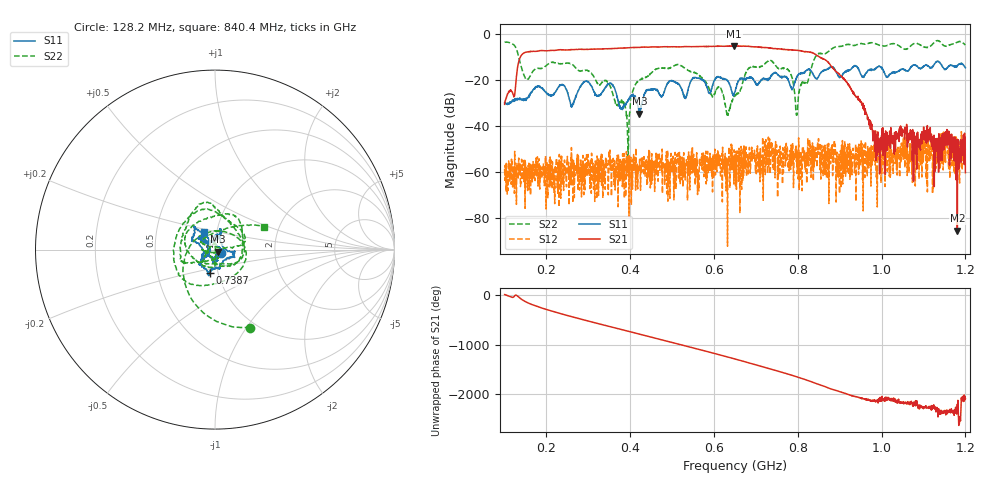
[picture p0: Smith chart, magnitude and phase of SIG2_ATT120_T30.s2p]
# Hz S DB R 50
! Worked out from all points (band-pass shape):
!   1601 points, 100 MHz to 1.2 GHz, reference 50 ohm
!   highest |S21| = -5.08 dB at 647.9 MHz (marker M1); lowest = -85.5 dB at 1.181 GHz (marker M2)
!   |S21| within 3 dB of the highest: 147.1 MHz to 834.1 MHz (687 MHz wide, 140 % of centre); 834.6005 MHz to 835.5847 MHz (984.2 kHz wide, 0.118 % of centre)
!   lowest |S11| = -34.6 dB at 421.8 MHz (marker M3), VSWR 1.04, Z = 51.5 - j1.13 ohm
!   |S11| at or under -10 dB: start of sweep to end of sweep
!   |S22| runs from -56.5 to -2.7 dB; largest |S21 - S12| = 0.56
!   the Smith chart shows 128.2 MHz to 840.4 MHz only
!   S11 on the Smith chart (normalised r, x): 128.2 MHz: 1.07, -0.04; 738.7 MHz: 0.91, -0.24; 840.4 MHz: 0.86, +0.17
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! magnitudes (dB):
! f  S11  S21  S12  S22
! 100 MHz  -29.8  -30.5  -58.6  -3.5
! 128.2 MHz  -28.5  -18.5  -74.1  -6.4
! 152.9 MHz  -28.2  -7.8  -60.5  -19.8
! 283.6 MHz  -22.1  -6.6  -70.8  -16.0
! 346.1 MHz  -22.0  -6.3  -56.5  -20.7
! 393.6 MHz  -29.4  -5.9  -54.3  -45.3
! 421.8 MHz  -34.6  -5.7  -56.1  -20.0
! 467.1 MHz  -25.3  -5.5  -56.3  -14.8
! 559.2 MHz  -19.0  -5.4  -55.7  -17.1
! 632.8 MHz  -20.2  -5.3  -59.1  -34.4
! 647.9 MHz  -26.1  -5.1  -50.3  -27.2
! 650 MHz  -24.9  -5.2  -52.6  -27.0
! 738.7 MHz  -17.6  -6.1  -47.5  -11.7
! 779.9 MHz  -21.3  -6.8  -52.3  -16.1
! 797.8 MHz  -18.7  -7.0  -60.6  -35.2
! 833.6 MHz  -16.5  -7.9  -50.1  -14.0
! 840.4 MHz  -18.7  -8.6  -50.2  -10.5
! 946.3 MHz  -15.8  -28.1  -58.3  -4.2
! 989.6 MHz  -14.4  -43.6  -75.2  -4.5
! 1.017 GHz  -17.9  -45.1  -49.2  -4.5
! 1.181 GHz  -13.5  -85.5  -47.1  -3.5
! 1.2 GHz  -14.6  -60.3  -51.2  -4.7
